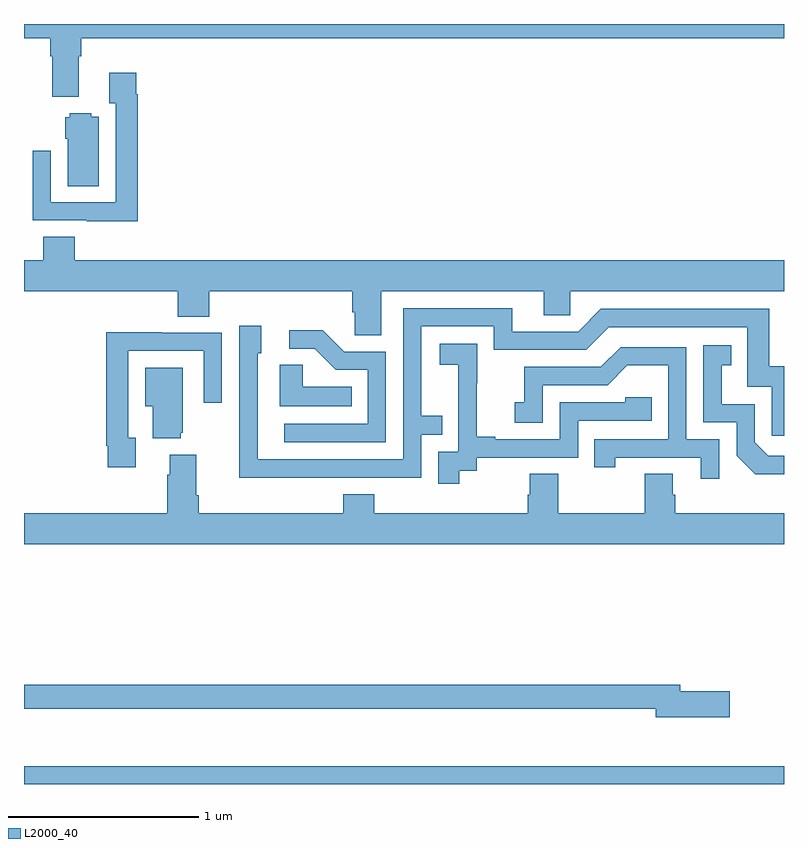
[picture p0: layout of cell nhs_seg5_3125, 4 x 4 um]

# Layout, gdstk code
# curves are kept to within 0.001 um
import gdstk
lib = gdstk.Library(unit=1e-6, precision=1e-09)
def R(c, l, rs):  # rectangles x0, y0, x1, y1
    for r in rs: c.add(gdstk.rectangle(r[:2], r[2:], *l))
def P(c, l, *ps):  # polygons
    for p in ps: c.add(gdstk.Polygon(p, *l))
L2000_40 = (2000, 40)

nhs_seg5_3125 = lib.new_cell('nhs_seg5_3125')
R(nhs_seg5_3125, L2000_40, [(291,888.799,295,888.892)])
P(nhs_seg5_3125, L2000_40, [(295,892.799),(291,892.799),(291,892.724),(291.137,892.724),(291.137,892.628),(291.149,892.628),(291.149,892.415),(291.289,892.415),(291.289,892.628),(291.302,892.628),(291.302,892.724),(295,892.724)],
  [(291.599,892.43),(291.592,892.43),(291.592,892.543),(291.449,892.543),(291.449,892.382),(291.483,892.382),(291.483,891.861),(291.141,891.861),(291.141,892.132),(291.045,892.132),(291.045,891.765),(291.329,891.765),(291.329,891.761),(291.599,891.761)],
  [(291.394,892.312),(291.354,892.312),(291.354,892.33),(291.24,892.33),(291.24,892.308),(291.218,892.308),(291.218,892.194),(291.23,892.194),(291.23,891.946),(291.394,891.946)],
  [(292.879,891.392),(293.735,891.392),(293.735,891.265),(293.874,891.265),(293.874,891.392),(295,891.392),(295,891.556),(291.266,891.556),(291.266,891.68),(291.101,891.68),(291.101,891.556),(291,891.556),(291,891.392),(291.809,891.392),(291.809,891.259),(291.974,891.259),(291.974,891.392),(292.727,891.392),(292.727,891.283),(292.74,891.283),(292.74,891.16),(292.879,891.16)],
  [(292.595,890.412),(293.091,890.412),(293.091,890.637),(293.201,890.637),(293.201,890.738),(293.091,890.738),(293.091,891.207),(293.472,891.207),(293.472,891.084),(293.958,891.084),(294.078,891.204),(294.807,891.204),(294.807,890.889),(294.936,890.889),(294.936,890.631),(295,890.631),(295,890.998),(294.923,890.998),(294.923,891.3),(294.036,891.3),(293.916,891.18),(293.569,891.18),(293.569,891.303),(292.995,891.303),(292.995,890.508),(292.23,890.508),(292.23,891.066),(292.249,891.066),(292.249,891.211),(292.134,891.211),(292.134,890.717),(292.132,890.717),(292.132,890.411)],
  [(292.905,891.075),(292.686,891.075),(292.573,891.188),(292.395,891.188),(292.395,891.09),(292.529,891.09),(292.64,890.979),(292.809,890.979),(292.809,890.694),(292.371,890.694),(292.371,890.598),(292.905,890.598)],
  [(291.589,890.622),(291.549,890.622),(291.549,891.078),(291.945,891.078),(291.945,890.805),(292.041,890.805),(292.041,891.174),(291.725,891.174),(291.725,891.176),(291.433,891.176),(291.433,890.578),(291.441,890.578),(291.441,890.466),(291.589,890.466)],
  [(293.29,890.449),(293.382,890.449),(293.382,890.517),(293.916,890.517),(293.916,890.712),(294.305,890.712),(294.305,890.835),(294.165,890.835),(294.165,890.808),(293.82,890.808),(293.82,890.613),(293.479,890.613),(293.479,890.626),(293.384,890.626),(293.384,890.909),(293.385,890.909),(293.385,891.115),(293.187,891.115),(293.187,891.005),(293.285,891.005),(293.285,890.777),(293.286,890.777),(293.286,890.547),(293.181,890.547),(293.181,890.379),(293.29,890.379)],
  [(295,890.526),(294.918,890.526),(294.846,890.598),(294.846,890.799),(294.673,890.799),(294.673,891.003),(294.722,891.003),(294.722,891.109),(294.576,891.109),(294.576,890.703),(294.75,890.703),(294.75,890.526),(294.848,890.429),(295,890.429)],
  [(294.66,890.613),(294.486,890.613),(294.486,891.099),(294.14,891.099),(294.035,890.994),(293.632,890.994),(293.632,890.809),(293.583,890.809),(293.583,890.7),(293.73,890.7),(293.73,890.898),(294.072,890.898),(294.176,891.002),(294.39,891.002),(294.39,890.613),(294.001,890.613),(294.001,890.466),(294.112,890.466),(294.112,890.517),(294.563,890.517),(294.563,890.406),(294.66,890.406)],
  [(292.724,890.89),(292.467,890.89),(292.467,891.005),(292.346,891.005),(292.346,890.786),(292.724,890.786)],
  [(291.824,890.649),(291.835,890.649),(291.835,890.989),(291.638,890.989),(291.638,890.786),(291.677,890.786),(291.677,890.618),(291.824,890.618)],
  [(295,890.224),(294.428,890.224),(294.428,890.322),(294.415,890.322),(294.415,890.432),(294.268,890.432),(294.268,890.224),(293.811,890.224),(293.811,890.432),(293.663,890.432),(293.663,890.322),(293.651,890.322),(293.651,890.224),(292.844,890.224),(292.844,890.323),(292.679,890.323),(292.679,890.224),(291.92,890.224),(291.92,890.32),(291.907,890.32),(291.907,890.533),(291.767,890.533),(291.767,890.426),(291.755,890.426),(291.755,890.224),(291,890.224),(291,890.06),(295,890.06)],
  [(294.715,889.286),(294.454,889.286),(294.454,889.322),(291,889.322),(291,889.194),(294.326,889.194),(294.326,889.151),(294.715,889.151)])

lib.write_gds('nhs_seg5_3125.gds')
